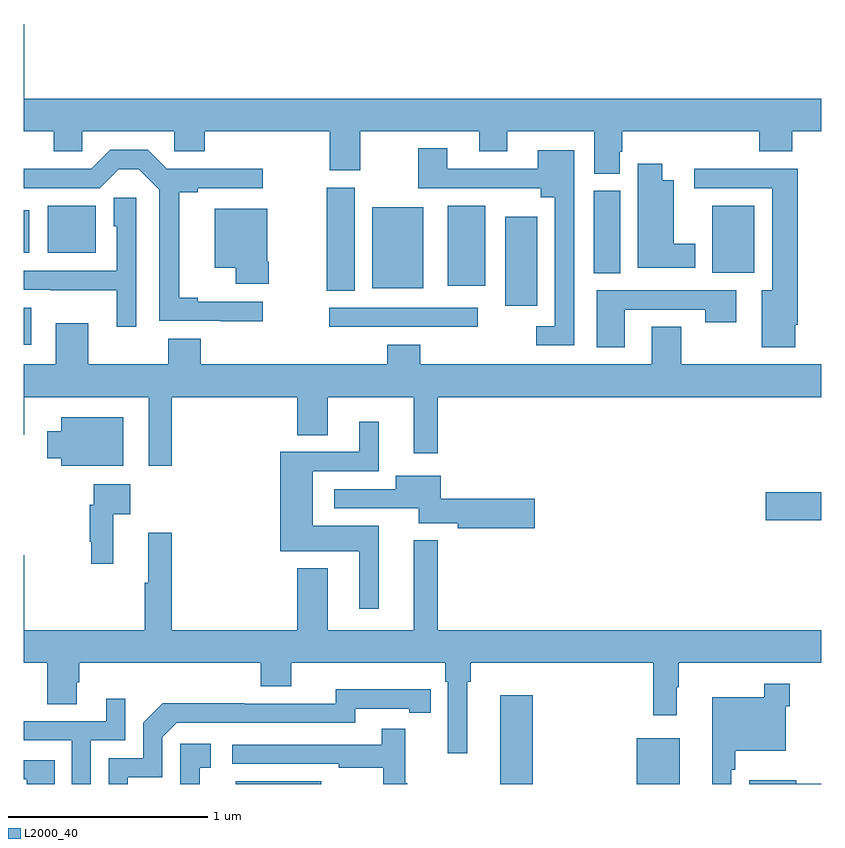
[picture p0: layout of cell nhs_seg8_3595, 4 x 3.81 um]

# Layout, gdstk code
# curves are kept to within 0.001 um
import gdstk
lib = gdstk.Library(unit=1e-6, precision=1e-09)
def R(c, l, rs):  # rectangles x0, y0, x1, y1
    for r in rs: c.add(gdstk.rectangle(r[:2], r[2:], *l))
def P(c, l, *ps):  # polygons
    for p in ps: c.add(gdstk.Polygon(p, *l))
L2000_40 = (2000, 40)

nhs_seg8_3595 = lib.new_cell('nhs_seg8_3595')
R(nhs_seg8_3595, L2000_40, [(334.064,1107.9,334.492,1107.913), (335.39,1107.9,335.554,1108.345), (336.074,1107.9,336.289,1108.129), (336.72,1109.222,337,1109.364), (333,1110.102,333.037,1110.288), (334.533,1110.192,335.278,1110.288), (335.414,1110.297,335.575,1110.745), (334.519,1110.373,334.66,1110.889), (334.748,1110.386,335.005,1110.793), (335.126,1110.398,335.314,1110.799), (335.858,1110.46,335.992,1110.876), (336.452,1110.464,336.664,1110.799), (333,1110.563,333.028,1110.778), (333.122,1110.563,333.361,1110.799)])
P(nhs_seg8_3595, L2000_40, [(335.989,1111.071),(336.002,1111.071),(336.002,1111.172),(336.689,1111.172),(336.689,1111.073),(336.854,1111.073),(336.854,1111.172),(337,1111.172),(337,1111.336),(333.004,1111.336),(333.004,1111.711),(333,1111.711),(333,1111.172),(333.152,1111.172),(333.152,1111.074),(333.294,1111.074),(333.294,1111.172),(333.756,1111.172),(333.756,1111.074),(333.908,1111.074),(333.908,1111.172),(334.534,1111.172),(334.534,1110.978),(334.689,1110.978),(334.689,1111.172),(335.285,1111.172),(335.285,1111.073),(335.425,1111.073),(335.425,1111.172),(335.861,1111.172),(335.861,1110.961),(335.989,1110.961)],
  [(335.76,1111.078),(335.579,1111.078),(335.579,1110.984),(335.125,1110.984),(335.125,1111.087),(334.978,1111.087),(334.978,1110.888),(335.594,1110.888),(335.594,1110.842),(335.664,1110.842),(335.664,1110.195),(335.571,1110.195),(335.571,1110.099),(335.76,1110.099)],
  [(334.198,1110.318),(333.874,1110.318),(333.874,1110.338),(333.779,1110.338),(333.779,1110.868),(333.874,1110.868),(333.874,1110.888),(334.198,1110.888),(334.198,1110.986),(333.951,1110.986),(333.951,1110.984),(333.718,1110.984),(333.622,1111.08),(333.435,1111.08),(333.339,1110.984),(333.1,1110.984),(333.1,1110.986),(333,1110.986),(333,1110.888),(333.381,1110.888),(333.476,1110.983),(333.577,1110.983),(333.681,1110.879),(333.681,1110.222),(334.198,1110.221)],
  [(336.367,1110.61),(336.259,1110.61),(336.259,1110.928),(336.202,1110.928),(336.202,1111.009),(336.08,1111.009),(336.08,1110.488),(336.367,1110.488)],
  [(336.868,1110.202),(336.881,1110.202),(336.881,1110.986),(336.363,1110.986),(336.363,1110.888),(336.755,1110.888),(336.755,1110.376),(336.701,1110.376),(336.701,1110.09),(336.868,1110.09)],
  [(333.564,1110.839),(333.452,1110.839),(333.452,1110.696),(333.468,1110.696),(333.468,1110.474),(333,1110.474),(333,1110.378),(333.133,1110.378),(333.133,1110.377),(333.467,1110.377),(333.467,1110.192),(333.564,1110.192)],
  [(334.23,1110.52),(334.222,1110.52),(334.222,1110.784),(333.959,1110.784),(333.959,1110.488),(334.064,1110.488),(334.064,1110.408),(334.23,1110.408)],
  [(336.013,1110.279),(336.418,1110.279),(336.418,1110.216),(336.574,1110.216),(336.574,1110.375),(335.873,1110.375),(335.873,1110.09),(336.013,1110.09)],
  [(333.743,1109.84),(334.373,1109.84),(334.373,1109.65),(334.525,1109.65),(334.525,1109.84),(334.955,1109.84),(334.955,1109.559),(335.077,1109.559),(335.077,1109.84),(337,1109.84),(337,1110.004),(336.297,1110.004),(336.297,1110.194),(336.149,1110.194),(336.149,1110.004),(334.988,1110.004),(334.988,1110.103),(334.823,1110.103),(334.823,1110.004),(333.889,1110.004),(333.889,1110.133),(333.725,1110.133),(333.725,1110.004),(333.325,1110.004),(333.325,1110.211),(333.161,1110.211),(333.161,1110.004),(333,1110.004),(333,1109.652),(333.004,1109.652),(333.004,1109.84),(333.627,1109.84),(333.627,1109.496),(333.743,1109.496)],
  [(333.499,1109.74),(333.188,1109.74),(333.188,1109.668),(333.119,1109.668),(333.119,1109.534),(333.188,1109.534),(333.188,1109.495),(333.499,1109.495)],
  [(334.78,1109.194),(334.45,1109.194),(334.45,1109.469),(334.78,1109.469),(334.78,1109.716),(334.682,1109.716),(334.682,1109.565),(334.286,1109.565),(334.286,1109.066),(334.682,1109.066),(334.682,1108.779),(334.78,1108.779)],
  [(335.563,1109.33),(335.092,1109.33),(335.092,1109.446),(334.865,1109.446),(334.865,1109.379),(334.557,1109.379),(334.557,1109.283),(334.982,1109.283),(334.982,1109.207),(335.178,1109.207),(335.178,1109.183),(335.563,1109.183)],
  [(333.449,1109.252),(333.535,1109.252),(333.535,1109.404),(333.351,1109.404),(333.351,1109.3),(333.331,1109.3),(333.331,1109.116),(333.339,1109.116),(333.339,1109.004),(333.449,1109.004)],
  [(335.224,1108.412),(335.243,1108.412),(335.243,1108.508),(336.157,1108.508),(336.157,1108.245),(336.274,1108.245),(336.274,1108.385),(336.286,1108.385),(336.286,1108.508),(337,1108.508),(337,1108.672),(335.077,1108.672),(335.077,1109.122),(334.955,1109.122),(334.955,1108.672),(334.525,1108.672),(334.525,1108.981),(334.373,1108.981),(334.373,1108.672),(333.743,1108.672),(333.743,1109.161),(333.626,1109.161),(333.626,1108.908),(333.607,1108.908),(333.607,1108.672),(333.004,1108.672),(333.004,1109.047),(333,1109.047),(333,1108.508),(333.118,1108.508),(333.118,1108.3),(333.265,1108.3),(333.265,1108.41),(333.278,1108.41),(333.278,1108.508),(334.19,1108.508),(334.19,1108.391),(334.342,1108.391),(334.342,1108.508),(335.114,1108.508),(335.114,1108.412),(335.127,1108.412),(335.127,1108.053),(335.224,1108.053)],
  [(336.549,1107.971),(336.569,1107.971),(336.569,1108.067),(336.822,1108.067),(336.822,1108.289),(336.842,1108.289),(336.842,1108.402),(336.714,1108.402),(336.714,1108.336),(336.452,1108.336),(336.452,1107.9),(336.549,1107.9)],
  [(333.523,1107.933),(333.696,1107.933),(333.696,1108.134),(333.768,1108.206),(334.662,1108.206),(334.662,1108.278),(334.934,1108.278),(334.934,1108.258),(335.042,1108.258),(335.042,1108.374),(334.566,1108.375),(334.566,1108.302),(334.106,1108.302),(334.106,1108.304),(333.698,1108.304),(333.6,1108.206),(333.6,1108.029),(333.426,1108.029),(333.426,1107.9),(333.523,1107.9)],
  [(333.336,1108.119),(333.51,1108.119),(333.51,1108.327),(333.413,1108.327),(333.413,1108.215),(333,1108.215),(333,1108.119),(333.24,1108.119),(333.24,1107.9),(333.336,1107.9)],
  [(334.924,1107.905),(334.913,1107.905),(334.913,1108.177),(334.795,1108.177),(334.795,1108.098),(334.047,1108.098),(334.047,1108.002),(334.579,1108.002),(334.579,1107.982),(334.803,1107.982),(334.803,1107.9),(334.924,1107.9)],
  [(333.884,1107.981),(333.937,1107.981),(333.937,1108.102),(333.786,1108.102),(333.786,1107.9),(333.884,1107.9)],
  [(333.155,1108.02),(333,1108.02),(333,1107.924),(333.015,1107.924),(333.015,1107.9),(333.155,1107.9)],
  [(337,1107.902),(336.874,1107.902),(336.874,1107.919),(336.638,1107.919),(336.638,1107.9),(337,1107.9)])

lib.write_gds('nhs_seg8_3595.gds')
